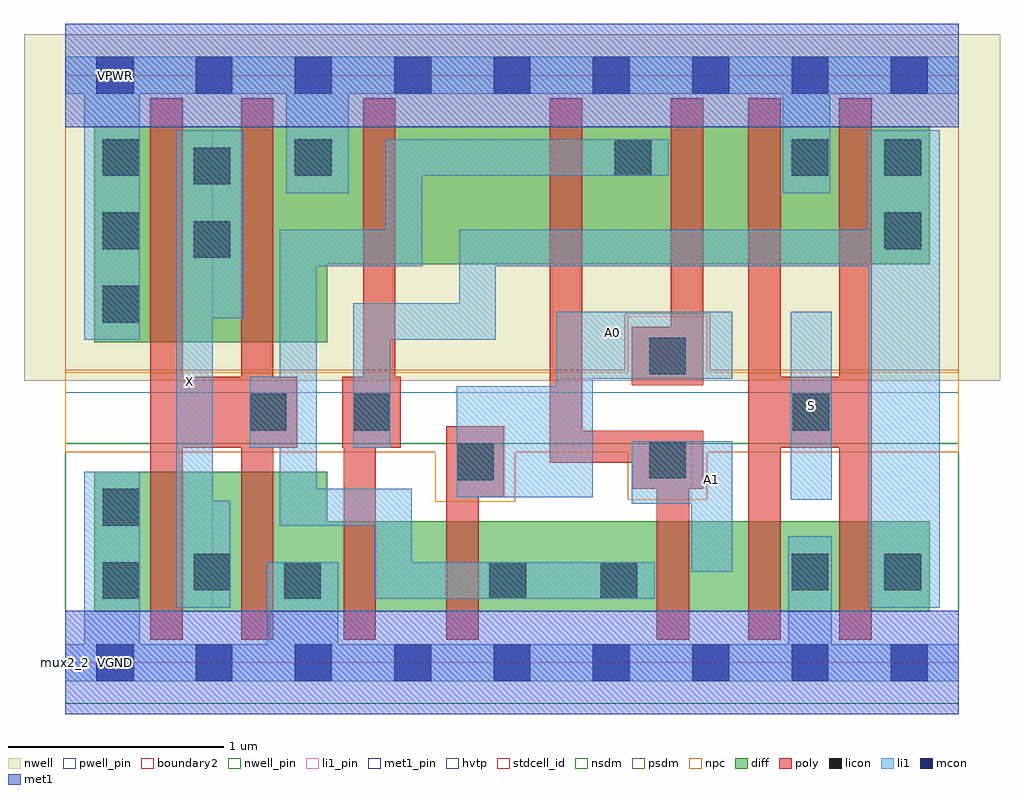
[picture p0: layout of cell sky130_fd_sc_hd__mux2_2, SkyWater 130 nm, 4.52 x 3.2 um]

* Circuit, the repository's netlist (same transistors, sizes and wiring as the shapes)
* Copyright 2020 The SkyWater PDK Authors
*
* Licensed under the Apache License, Version 2.0 (the "License");
* you may not use this file except in compliance with the License.
* You may obtain a copy of the License at
*
*     https://www.apache.org/licenses/LICENSE-2.0
*
* Unless required by applicable law or agreed to in writing, software
* distributed under the License is distributed on an "AS IS" BASIS,
* WITHOUT WARRANTIES OR CONDITIONS OF ANY KIND, either express or implied.
* See the License for the specific language governing permissions and
* limitations under the License.
*
* SPDX-License-Identifier: Apache-2.0


.subckt sky130_fd_sc_hd__mux2_2 A0 A1 S VGND VNB VPB VPWR X
X0 VGND a_257_199# a_288_47# VNB sky130_fd_pr__nfet_01v8 w=420000u l=150000u
X1 a_306_369# A1 a_79_21# VPB sky130_fd_pr__pfet_01v8_hvt w=640000u l=150000u
X2 a_288_47# A0 a_79_21# VNB sky130_fd_pr__nfet_01v8 w=420000u l=150000u
X3 a_79_21# A1 a_578_47# VNB sky130_fd_pr__nfet_01v8 w=420000u l=150000u
X4 VPWR S a_257_199# VPB sky130_fd_pr__pfet_01v8_hvt w=640000u l=150000u
X5 a_79_21# A0 a_591_369# VPB sky130_fd_pr__pfet_01v8_hvt w=640000u l=150000u
X6 VGND S a_257_199# VNB sky130_fd_pr__nfet_01v8 w=420000u l=150000u
X7 a_591_369# S VPWR VPB sky130_fd_pr__pfet_01v8_hvt w=640000u l=150000u
X8 a_578_47# S VGND VNB sky130_fd_pr__nfet_01v8 w=420000u l=150000u
X9 X a_79_21# VGND VNB sky130_fd_pr__nfet_01v8 w=650000u l=150000u
X10 VGND a_79_21# X VNB sky130_fd_pr__nfet_01v8 w=650000u l=150000u
X11 VPWR a_79_21# X VPB sky130_fd_pr__pfet_01v8_hvt w=1 l=150000u
X12 VPWR a_257_199# a_306_369# VPB sky130_fd_pr__pfet_01v8_hvt w=640000u l=150000u
X13 X a_79_21# VPWR VPB sky130_fd_pr__pfet_01v8_hvt w=1 l=150000u
.ends

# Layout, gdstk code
import gdstk
lib = gdstk.Library(unit=1e-6, precision=1e-09)
def R(c, l, rs):  # rectangles x0, y0, x1, y1
    for r in rs: c.add(gdstk.rectangle(r[:2], r[2:], *l))
def A(c, l, x, y, w, h, nx, ny, dx, dy):  # array of equal rectangles
    R(c, l, [(x+i*dx, y+j*dy, x+i*dx+w, y+j*dy+h) for i in range(nx) for j in range(ny)])
def P(c, l, *ps):  # polygons
    for p in ps: c.add(gdstk.Polygon(p, *l))
nwell_pin = (64, 16)
nwell = (64, 20)
diff = (65, 20)
poly = (66, 20)
licon = (66, 44)
li1_pin = (67, 16)
li1 = (67, 20)
mcon = (67, 44)
met1_pin = (68, 16)
met1 = (68, 20)
hvtp = (78, 44)
stdcell_id = (81, 4)
nsdm = (93, 44)
psdm = (94, 20)
npc = (95, 20)
pwell_pin = (122, 16)
boundary2 = (236, 0)

sky130_fd_sc_hd__mux2_2 = lib.new_cell('sky130_fd_sc_hd__mux2_2')
R(sky130_fd_sc_hd__mux2_2, nwell_pin, [(0.15,2.635,0.32,2.805)])
R(sky130_fd_sc_hd__mux2_2, nwell, [(-0.19,1.305,4.33,2.91)])
P(sky130_fd_sc_hd__mux2_2, diff, [(0.135,0.235),(0.135,0.885),(1.215,0.885),(1.215,0.655),(4.005,0.655),(4.005,0.235)],
  [(0.135,1.485),(0.135,2.485),(4.005,2.485),(4.005,1.845),(1.215,1.845),(1.215,1.485)])
P(sky130_fd_sc_hd__mux2_2, poly, [(3.165,0.105),(3.165,2.615),(3.315,2.615),(3.315,1.325),(3.585,1.325),(3.585,2.615),(3.735,2.615),(3.735,0.105),(3.585,0.105),(3.585,0.995),(3.315,0.995),(3.315,0.105)],
  [(2.74,0.105),(2.74,0.805),(2.625,0.805),(2.625,0.925),(2.245,0.925),(2.245,2.615),(2.395,2.615),(2.395,1.075),(2.955,1.075),(2.955,0.805),(2.89,0.805),(2.89,0.105)],
  [(2.625,1.285),(2.625,1.555),(2.805,1.555),(2.805,2.615),(2.955,2.615),(2.955,1.285)],
  [(1.765,0.105),(1.765,1.095),(2.035,1.095),(2.035,0.765),(1.915,0.765),(1.915,0.105)],
  [(1.29,0.105),(1.29,0.995),(1.285,0.995),(1.285,1.325),(1.38,1.325),(1.38,2.615),(1.53,2.615),(1.53,1.325),(1.555,1.325),(1.555,0.995),(1.44,0.995),(1.44,0.105)],
  [(0.395,0.105),(0.395,2.615),(0.545,2.615),(0.545,1.325),(0.815,1.325),(0.815,2.615),(0.965,2.615),(0.965,1.325),(1.075,1.325),(1.075,0.995),(0.965,0.995),(0.965,0.105),(0.815,0.105),(0.815,0.995),(0.545,0.995),(0.545,0.105)])
A(sky130_fd_sc_hd__mux2_2, licon, 0.175, 1.575, 0.17, 0.17, 1, 3, 0, 0.34)
R(sky130_fd_sc_hd__mux2_2, licon, [(0.175,0.295,0.345,0.465), (1.015,0.295,1.185,0.465), (1.965,0.295,2.135,0.465), (2.48,0.295,2.65,0.465), (0.595,0.335,0.765,0.505), (3.365,0.335,3.535,0.505), (3.795,0.335,3.965,0.505), (0.175,0.635,0.345,0.805), (1.815,0.845,1.985,1.015), (2.705,0.855,2.875,1.025), (0.855,1.075,1.025,1.245), (1.335,1.075,1.505,1.245), (3.37,1.075,3.54,1.245), (2.705,1.335,2.875,1.505), (0.595,1.875,0.765,2.045), (3.795,1.915,3.965,2.085), (0.595,2.215,0.765,2.385), (1.065,2.255,1.235,2.425), (2.545,2.255,2.715,2.425), (3.365,2.255,3.535,2.425), (3.795,2.255,3.965,2.425)])
R(sky130_fd_sc_hd__mux2_2, li1_pin, [(0.515,0.255,0.685,2.465), (2.9,0.42,3.09,1.025), (3.36,0.755,3.55,1.625), (2.275,1.315,3.09,1.625)])
R(sky130_fd_sc_hd__mux2_2, li1, [(3.36,0.755,3.55,1.625)])
P(sky130_fd_sc_hd__mux2_2, li1, [(1.815,0.765),(1.815,1.28),(2.275,1.28),(2.275,1.625),(3.09,1.625),(3.09,1.315),(2.445,1.315),(2.445,0.765)],
  [(2.9,0.42),(2.9,0.735),(2.625,0.735),(2.625,1.025),(3.09,1.025),(3.09,0.42)],
  [(0,-0.085),(0,0.085),(0.09,0.085),(0.09,0.885),(0.345,0.885),(0.345,0.085),(0.935,0.085),(0.935,0.465),(1.265,0.465),(1.265,0.085),(3.35,0.085),(3.35,0.585),(3.55,0.585),(3.55,0.085),(4.14,0.085),(4.14,-0.085)],
  [(0.09,1.495),(0.09,2.635),(0,2.635),(0,2.805),(4.14,2.805),(4.14,2.635),(3.545,2.635),(3.545,2.175),(3.325,2.175),(3.325,2.635),(1.315,2.635),(1.315,2.175),(1.025,2.175),(1.025,2.635),(0.345,2.635),(0.345,1.495)],
  [(3.72,0.255),(3.72,1.835),(1.995,1.835),(1.995,1.495),(1.505,1.495),(1.505,0.995),(1.335,0.995),(1.335,1.665),(1.825,1.665),(1.825,2.005),(3.715,2.005),(3.715,2.465),(4.05,2.465),(4.05,0.255)],
  [(1.435,0.295),(1.435,0.635),(0.995,0.635),(0.995,0.995),(0.855,0.995),(0.855,1.325),(0.995,1.325),(0.995,2.005),(1.485,2.005),(1.485,2.425),(2.795,2.425),(2.795,2.255),(1.655,2.255),(1.655,1.835),(1.165,1.835),(1.165,0.805),(1.605,0.805),(1.605,0.465),(2.73,0.465),(2.73,0.295)],
  [(0.515,0.255),(0.515,2.465),(0.825,2.465),(0.825,1.595),(0.685,1.595),(0.685,0.75),(0.765,0.75),(0.765,0.255)])
A(sky130_fd_sc_hd__mux2_2, mcon, 0.145, -0.085, 0.17, 0.17, 9, 2, 0.46, 2.72)
R(sky130_fd_sc_hd__mux2_2, met1_pin, [(0,-0.24,4.14,0.24), (0,2.48,4.14,2.96)])
R(sky130_fd_sc_hd__mux2_2, met1, [(0,-0.24,4.14,0.24), (0,2.48,4.14,2.96)])
R(sky130_fd_sc_hd__mux2_2, hvtp, [(0,1.25,4.14,2.72)])
R(sky130_fd_sc_hd__mux2_2, stdcell_id, [(0,0,4.14,2.72)])
R(sky130_fd_sc_hd__mux2_2, nsdm, [(0,-0.19,4.14,1.015)])
P(sky130_fd_sc_hd__mux2_2, psdm, [(0,1.355),(0,2.91),(4.14,2.91),(4.14,1.355),(2.985,1.355),(2.985,1.615),(2.595,1.615),(2.595,1.355)])
P(sky130_fd_sc_hd__mux2_2, npc, [(1.715,0.745),(1.715,0.975),(0,0.975),(0,1.345),(2.605,1.345),(2.605,1.605),(2.975,1.605),(2.975,1.345),(4.14,1.345),(4.14,0.975),(2.975,0.975),(2.975,0.755),(2.605,0.755),(2.605,0.975),(2.085,0.975),(2.085,0.745)])
R(sky130_fd_sc_hd__mux2_2, pwell_pin, [(0.15,-0.085,0.32,0.085)])
R(sky130_fd_sc_hd__mux2_2, boundary2, [(0,0,4.14,2.72)])
sky130_fd_sc_hd__mux2_2.add(gdstk.Label('VGND', (0.235,0), layer=68, texttype=5))
sky130_fd_sc_hd__mux2_2.add(gdstk.Label('VPWR', (0.235,2.72), layer=68, texttype=5))
sky130_fd_sc_hd__mux2_2.add(gdstk.Label('X', (0.575,1.302), layer=67, texttype=5))
sky130_fd_sc_hd__mux2_2.add(gdstk.Label('A1', (2.995,0.85), layer=67, texttype=5))
sky130_fd_sc_hd__mux2_2.add(gdstk.Label('A0', (2.535,1.53), layer=67, texttype=5))
sky130_fd_sc_hd__mux2_2.add(gdstk.Label('S', (3.455,1.19), layer=67, texttype=5))
sky130_fd_sc_hd__mux2_2.add(gdstk.Label('VPB', (0.235,2.72), layer=64, texttype=5))
sky130_fd_sc_hd__mux2_2.add(gdstk.Label('VNB', (0.235,0), layer=64, texttype=59))
sky130_fd_sc_hd__mux2_2.add(gdstk.Label('mux2_2', (0,0), layer=83, texttype=44))

lib.write_gds('sky130_fd_sc_hd__mux2_2.gds')
